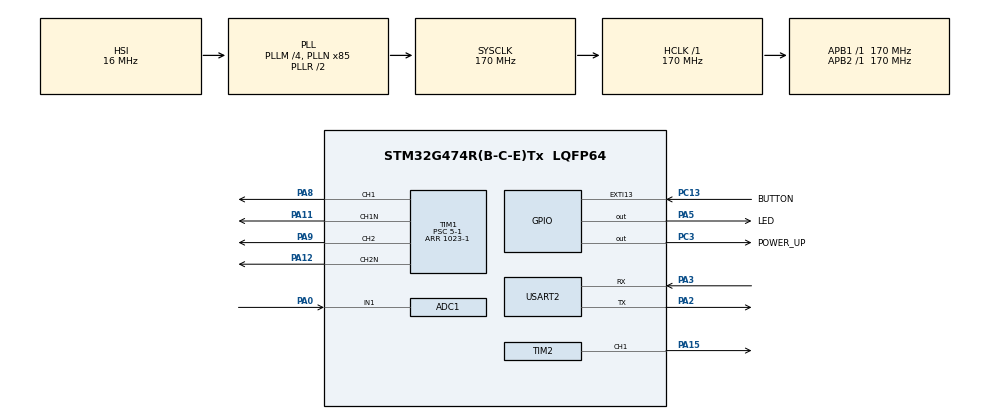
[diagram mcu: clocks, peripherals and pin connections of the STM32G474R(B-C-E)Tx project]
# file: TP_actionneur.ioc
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ADC1.Channel-0\#ChannelRegularConversion=ADC_CHANNEL_1
ADC1.NbrOfConversionFlag=1
ADC1.OffsetNumber-0\#ChannelRegularConversion=ADC_OFFSET_NONE
ADC1.Rank-0\#ChannelRegularConversion=1
ADC1.SamplingTime-0\#ChannelRegularConversion=ADC_SAMPLETIME_2CYCLES_5
ADC1.master=1
Mcu.Family=STM32G4
Mcu.Name=STM32G474R(B-C-E)Tx
Mcu.Package=LQFP64
NVIC.ADC1_2_IRQn=true\:0\:0\:false\:false\:true\:true\:true\:true
NVIC.EXTI15_10_IRQn=true\:0\:0\:false\:false\:true\:true\:true\:true
NVIC.PriorityGroup=NVIC_PRIORITYGROUP_4
NVIC.USART2_IRQn=true\:0\:0\:false\:false\:true\:true\:true\:true
PA0.Mode=IN1-Single-Ended
PA0.Signal=ADC1_IN1
PA11.Mode=PWM Generation1 CH1 CH1N
PA11.Signal=TIM1_CH1N
PA12.Mode=PWM Generation2 CH2 CH2N
PA12.Signal=TIM1_CH2N
PA13.GPIO_Label=T_SWDIO
PA13.Mode=Serial_Wire
PA13.Signal=SYS_JTMS-SWDIO
PA14.GPIO_Label=T_SWCLK
PA14.Mode=Serial_Wire
PA14.Signal=SYS_JTCK-SWCLK
PA15.Signal=S_TIM2_CH1
PA2.Mode=Asynchronous
PA2.Signal=USART2_TX
PA3.Mode=Asynchronous
PA3.Signal=USART2_RX
PA5.GPIO_Label=LED
PA5.Signal=GPIO_Output
PA8.Signal=S_TIM1_CH1
PA9.Signal=S_TIM1_CH2
PC13.GPIO_Label=BUTTON
PC13.Signal=GPXTI13
PC14-OSC32_IN.Mode=LSE-External-Oscillator
PC14-OSC32_IN.Signal=RCC_OSC32_IN
PC15-OSC32_OUT.Mode=LSE-External-Oscillator
PC15-OSC32_OUT.Signal=RCC_OSC32_OUT
PC3.GPIO_Label=POWER_UP
PC3.Signal=GPIO_Output
PF0-OSC_IN.Mode=HSE-External-Oscillator
PF0-OSC_IN.Signal=RCC_OSC_IN
PF1-OSC_OUT.Mode=HSE-External-Oscillator
PF1-OSC_OUT.Signal=RCC_OSC_OUT
ProjectManager.HeapSize=0x200
ProjectManager.StackSize=0x400
ProjectManager.TargetToolchain=STM32CubeIDE
RCC.ADC12Freq_Value=170000000
RCC.ADC345Freq_Value=170000000
RCC.AHBFreq_Value=170000000
RCC.APB1Freq_Value=170000000
RCC.APB1TimFreq_Value=170000000
RCC.APB2Freq_Value=170000000
RCC.APB2TimFreq_Value=170000000
RCC.CortexFreq_Value=170000000
RCC.EXTERNAL_CLOCK_VALUE=12288000
RCC.HCLKFreq_Value=170000000
RCC.HSE_VALUE=24000000
RCC.HSI48_VALUE=48000000
RCC.HSI_VALUE=16000000
RCC.PLLM=RCC_PLLM_DIV4
RCC.PLLN=85
RCC.RTCClockSelection=RCC_RTCCLKSOURCE_LSE
RCC.SYSCLKFreq_VALUE=170000000
RCC.SYSCLKSource=RCC_SYSCLKSOURCE_PLLCLK
RCC.USBFreq_Value=170000000
RCC.VCOOutputFreq_Value=340000000
SH.S_TIM1_CH1.0=TIM1_CH1,PWM Generation1 CH1 CH1N
SH.S_TIM1_CH2.0=TIM1_CH2,PWM Generation2 CH2 CH2N
SH.S_TIM2_CH1.0=TIM2_CH1,PWM Generation1 CH1
TIM1.Channel-PWM\ Generation1\ CH1\ CH1N=TIM_CHANNEL_1
TIM1.Channel-PWM\ Generation2\ CH2\ CH2N=TIM_CHANNEL_2
TIM1.CounterMode=TIM_COUNTERMODE_CENTERALIGNED1
TIM1.DeadTime=200
TIM1.PeriodNoDither=1023-1
TIM1.Prescaler=5-1
TIM1.PulseNoDither_1=613
TIM1.PulseNoDither_2=613
TIM2.AutoReloadPreload=TIM_AUTORELOAD_PRELOAD_ENABLE
TIM2.Channel-PWM\ Generation1\ CH1=TIM_CHANNEL_1
TIM2.PeriodNoDither=65535
USART2.VirtualMode-Asynchronous=VM_ASYNC
VP_SYS_VS_DBSignals.Mode=DisableDeadBatterySignals
VP_TIM1_VS_ClockSourceINT.Mode=Internal
VP_TIM2_VS_ClockSourceINT.Mode=Internal
board=NUCLEO-G474RE

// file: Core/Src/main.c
/* USER CODE BEGIN Header */
/**
 ******************************************************************************
 * @file           : main.c
 * @brief          : Main program body
 ******************************************************************************
 * @attention
 *
 * Copyright (c) 2022 STMicroelectronics.
 * All rights reserved.
 *
 * This software is licensed under terms that can be found in the LICENSE file
 * in the root directory of this software component.
 * If no LICENSE file comes with this software, it is provided AS-IS.
 *
 ******************************************************************************
 */
/* USER CODE END Header */
#include "main.h"

/* USER CODE BEGIN Includes */
#include "stdio.h"
#include "stdlib.h"
/* USER CODE END Includes */

/* USER CODE BEGIN PD */
#define UART_TX_BUFFER_SIZE 64
#define UART_RX_BUFFER_SIZE 1
#define CMD_BUFFER_SIZE 64
#define MAX_ARGS 9

#define ARR 1023
#define ALPHA 50
#define SPEED_MAX 100
// LF = line feed, saut de ligne
#define ASCII_LF 0x0A
// CR = carriage return, retour chariot
#define ASCII_CR 0x0D
// DEL = delete
#define ASCII_DEL 0x7F

/* USER CODE END PD */

ADC_HandleTypeDef hadc1;

TIM_HandleTypeDef htim1;
TIM_HandleTypeDef htim2;

UART_HandleTypeDef huart2;

/* USER CODE BEGIN PV */
uint8_t prompt[]="user@Nucleo-STM32G431>>";
uint8_t started[]=
		"\r\n*-----------------------------*"
		"\r\n| Welcome on Nucleo-STM32G431 |"
		"\r\n*-----------------------------*"
		"\r\n";
uint8_t newline[]="\r\n";
uint8_t cmdNotFound[]="Command not found\r\n";
uint32_t uartRxReceived;
uint8_t uartRxBuffer[UART_RX_BUFFER_SIZE];
uint8_t uartTxBuffer[UART_TX_BUFFER_SIZE];

char cmd[CMD_BUFFER_SIZE]; // contenant la commande en cours
extern int idxCmd; // contenant l'index du prochain caractère à remplir
const uint8_t help[]=
		"\r\n*-----------------------------*"
		"\r\n| Fonctions disponibles |"
		"\r\n*-----------------------------*"
		"\r\n pinout : contenant la liste des pin utilisées"
		"\r\n start : allume l'etage de puissance du moteur"
		"\r\n stop : éteind l'etage de puissance du moteur\r\n"; // contenant le message d'aide, la liste des fonctions
const uint8_t pinout[]=
		"PA5 : LED \r\n"; // contenant la liste des pin utilisées
const uint8_t powerOn[]= "Power ON \r\n"; // contenant le message d'allumage du moteur
const uint8_t powerOff[] = "Power OFF"; // contenant le message d'extinction du moteur

char speed[4];
int speedInt = 0;
int oldSpeed = 50;

//Variables pour le PWM
uint16_t CCR1; // Valeur de ARR du channel 1
uint16_t CCR2; // Valeur de ARR  du channel 2

//Variables pour l'ADC
uint16_t AD_RES = 0;

/* USER CODE END PV */

void SystemClock_Config(void);
static void MX_GPIO_Init(void);
static void MX_TIM1_Init(void);
static void MX_USART2_UART_Init(void);
static void MX_ADC1_Init(void);
static void MX_TIM2_Init(void);

/* USER CODE BEGIN 0 */
void configuration(){
	CCR1= (ARR * ALPHA)/100;
	CCR2= (ARR *(100 - ALPHA))/100;
	TIM1->CCR1 = CCR1;
	TIM1->CCR2 = CCR2;

	HAL_TIM_PWM_Start(&htim1, TIM_CHANNEL_1);
	HAL_TIMEx_PWMN_Start(&htim1, TIM_CHANNEL_1); // turn on complementary channel
	HAL_TIM_PWM_Start(&htim1, TIM_CHANNEL_2);
	HAL_TIMEx_PWMN_Start(&htim1, TIM_CHANNEL_2); // turn on complementary channel
}

void HAL_GPIO_EXTI_Callback(uint16_t GPIO_Pin){
	HAL_GPIO_TogglePin(LED_GPIO_Port, LED_Pin);
	powerUp();
}
/* USER CODE END 0 */

int main(void)
{
	/* USER CODE BEGIN 1 */
	char	 	cmdBuffer[CMD_BUFFER_SIZE];
	int 		idx_cmd = 0;
	char* 		argv[MAX_ARGS];
	int		 	argc = 0;
	char*		token;
	int 		newCmdReady = 0;
	/* USER CODE END 1 */

	/* MCU Configuration--------------------------------------------------------*/

	/* Reset of all peripherals, Initializes the Flash interface and the Systick. */
	HAL_Init();

	/* Configure the system clock */
	SystemClock_Config();

	/* Initialize all configured peripherals */
	MX_GPIO_Init();
	MX_TIM1_Init();
	MX_USART2_UART_Init();
	MX_ADC1_Init();
	MX_TIM2_Init();
	/* USER CODE BEGIN 2 */
	HAL_TIM_PWM_Start(&htim2, TIM_CHANNEL_1);
	HAL_ADCEx_Calibration_Start(&hadc1, ADC_SINGLE_ENDED);
	configuration();

	memset(argv,NULL,MAX_ARGS*sizeof(char*));
	memset(cmdBuffer,NULL,CMD_BUFFER_SIZE*sizeof(char));
	memset(uartRxBuffer,NULL,UART_RX_BUFFER_SIZE*sizeof(char));
	memset(uartTxBuffer,NULL,UART_TX_BUFFER_SIZE*sizeof(char));

	HAL_UART_Receive_IT(&huart2, uartRxBuffer, UART_RX_BUFFER_SIZE);
	HAL_Delay(10);
	HAL_UART_Transmit(&huart2, started, sizeof(started), HAL_MAX_DELAY);
	HAL_UART_Transmit(&huart2, prompt, sizeof(prompt), HAL_MAX_DELAY);
	/* USER CODE END 2 */

	/* Infinite loop */
	/* USER CODE BEGIN WHILE */
	while (1)
	{
		// uartRxReceived is set to 1 when a new character is received on uart 1
		if(uartRxReceived){
			switch(uartRxBuffer[0]){
			// Nouvelle ligne, instruction à traiter
			case ASCII_CR:
				HAL_UART_Transmit(&huart2, newline, sizeof(newline), HAL_MAX_DELAY);
				cmdBuffer[idx_cmd] = '\0';
				argc = 0;
				token = strtok(cmdBuffer, " ");
				while(token!=NULL){
					argv[argc++] = token;
					token = strtok(NULL, " ");
				}

				idx_cmd = 0;
				newCmdReady = 1;
				break;
				// Suppression du dernier caractère
			case ASCII_DEL:
				cmdBuffer[idx_cmd--] = '\0';
				HAL_UART_Transmit(&huart2, uartRxBuffer, UART_RX_BUFFER_SIZE, HAL_MAX_DELAY);
				break;
				// Nouveau caractère
			default:
				cmdBuffer[idx_cmd++] = uartRxBuffer[0];
				HAL_UART_Transmit(&huart2, uartRxBuffer, UART_RX_BUFFER_SIZE, HAL_MAX_DELAY);
			}
			uartRxReceived = 0;
		}

		if(newCmdReady){
			if(strcmp(argv[0],"set")==0){
				if(strcmp(argv[1],"PA5")==0){
					HAL_GPIO_WritePin(LED_GPIO_Port, LED_Pin, atoi(argv[2]));
					sprintf(uartTxBuffer,"Switch on/off led : %d\r\n",atoi(argv[2]));
					HAL_UART_Transmit(&huart2, uartTxBuffer, 32, HAL_MAX_DELAY);
				}
				else{
					HAL_UART_Transmit(&huart2, cmdNotFound, sizeof(cmdNotFound), HAL_MAX_DELAY);
				}
			}
			else if(strcmp(argv[0],"get")==0)
			{
				HAL_ADC_Start_IT(&hadc1);
				TIM2->CCR1 = (AD_RES<<4);
				HAL_Delay(1);

				//HAL_UART_Transmit(&huart2, cmdNotFound, sizeof(cmdNotFound), HAL_MAX_DELAY);
			}
			else if(strcmp(argv[0],"help")==0)
			{
				HAL_UART_Transmit(&huart2, help, sizeof(help), HAL_MAX_DELAY);
			}
			else if(strcmp(argv[0],"pinout")==0)
			{
				HAL_UART_Transmit(&huart2, pinout, sizeof(pinout), HAL_MAX_DELAY);
			}
			else if(strcmp(argv[0],"start")==0)
			{
				HAL_UART_Transmit(&huart2, powerOn, sizeof(powerOn), HAL_MAX_DELAY);
			}
			else if(strcmp(argv[0],"stop")==0)
			{
				HAL_UART_Transmit(&huart2, powerOff, sizeof(powerOff), HAL_MAX_DELAY);
			}
			else if(strlen(argv[0])==10)
			{
				memset(speed,0,sizeof(speed));
				memset(uartTxBuffer,NULL,UART_TX_BUFFER_SIZE*sizeof(char));
				speedInt=0;
				for(int i = 0; i<4;i++){
					speed[i] = cmdBuffer[i+6];
				}
				speedInt = atoi(speed);
				sprintf(uartTxBuffer,"speedInt value = %d\n\r", speedInt);
				HAL_UART_Transmit(&huart2, uartTxBuffer, sizeof(uartTxBuffer), HAL_MAX_DELAY);

				if(speedInt > SPEED_MAX){
					speedInt = SPEED_MAX;
					//					sprintf(uartTxBuffer,"speed value = %d est le maximum\n\r", speedInt);
					//					HAL_UART_Transmit(&huart2, uartTxBuffer, sizeof(uartTxBuffer), HAL_MAX_DELAY);
					//					CCR1= (ARR * speedInt)/100;
					//					CCR2= (ARR *(100 - speedInt))/100;
					//					__HAL_TIM_SET_COMPARE(&htim1,TIM_CHANNEL_1, CCR1);
					//					__HAL_TIM_SET_COMPARE(&htim1,TIM_CHANNEL_2, CCR2);
				}
				//				else{
				//					sprintf(uartTxBuffer,"speed value = %d\n\r", speedInt);
				//					HAL_UART_Transmit(&huart2, uartTxBuffer, sizeof(uartTxBuffer), HAL_MAX_DELAY);
				//					CCR1= (ARR * speedInt)/100;
				//					CCR2= (ARR *(100 - speedInt))/100;
				//					__HAL_TIM_SET_COMPARE(&htim1,TIM_CHANNEL_1, CCR1);
				//					__HAL_TIM_SET_COMPARE(&htim1,TIM_CHANNEL_2, CCR2);
				//				}
				if(oldSpeed<speedInt){
					for(int i=oldSpeed;i<=speedInt;i++){
						sprintf(uartTxBuffer,"speed value = %d\n\r", i);
						HAL_UART_Transmit(&huart2, uartTxBuffer, sizeof(uartTxBuffer), HAL_MAX_DELAY);
						CCR1= (ARR * i)/100;
						CCR2= (ARR *(100 - i))/100;
						__HAL_TIM_SET_COMPARE(&htim1,TIM_CHANNEL_1, CCR1);
						__HAL_TIM_SET_COMPARE(&htim1,TIM_CHANNEL_2, CCR2);
						HAL_Delay(100);
					}
				}
				else{
					for(int i=oldSpeed;i>=speedInt;i--){
						sprintf(uartTxBuffer,"speed value = %d\n\r", i);
						HAL_UART_Transmit(&huart2, uartTxBuffer, sizeof(uartTxBuffer), HAL_MAX_DELAY);
						CCR1= (ARR * i)/100;
						CCR2= (ARR *(100 - i))/100;
						__HAL_TIM_SET_COMPARE(&htim1,TIM_CHANNEL_1, CCR1);
						__HAL_TIM_SET_COMPARE(&htim1,TIM_CHANNEL_2, CCR2);
						HAL_Delay(100);

					}
				}
				oldSpeed = speedInt;
			}
			else{
				HAL_UART_Transmit(&huart2, cmdNotFound, sizeof(cmdNotFound), HAL_MAX_DELAY);
			}
			HAL_UART_Transmit(&huart2, prompt, sizeof(prompt), HAL_MAX_DELAY);
			newCmdReady = 0;
		}
		/* USER CODE END WHILE */

		/* USER CODE BEGIN 3 */
	}
	/* USER CODE END WHILE */

	/* USER CODE BEGIN 3 */

	/* USER CODE END 3 */
}

void SystemClock_Config(void)
{
	RCC_OscInitTypeDef RCC_OscInitStruct = {0};
	RCC_ClkInitTypeDef RCC_ClkInitStruct = {0};

	/** Configure the main internal regulator output voltage
	 */
	HAL_PWREx_ControlVoltageScaling(PWR_REGULATOR_VOLTAGE_SCALE1_BOOST);

	/** Initializes the RCC Oscillators according to the specified parameters
	 * in the RCC_OscInitTypeDef structure.
	 */
	RCC_OscInitStruct.OscillatorType = RCC_OSCILLATORTYPE_HSI;
	RCC_OscInitStruct.HSIState = RCC_HSI_ON;
	RCC_OscInitStruct.HSICalibrationValue = RCC_HSICALIBRATION_DEFAULT;
	RCC_OscInitStruct.PLL.PLLState = RCC_PLL_ON;
	RCC_OscInitStruct.PLL.PLLSource = RCC_PLLSOURCE_HSI;
	RCC_OscInitStruct.PLL.PLLM = RCC_PLLM_DIV4;
	RCC_OscInitStruct.PLL.PLLN = 85;
	RCC_OscInitStruct.PLL.PLLP = RCC_PLLP_DIV2;
	RCC_OscInitStruct.PLL.PLLQ = RCC_PLLQ_DIV2;
	RCC_OscInitStruct.PLL.PLLR = RCC_PLLR_DIV2;
	if (HAL_RCC_OscConfig(&RCC_OscInitStruct) != HAL_OK)
	{
		Error_Handler();
	}

	/** Initializes the CPU, AHB and APB buses clocks
	 */
	RCC_ClkInitStruct.ClockType = RCC_CLOCKTYPE_HCLK|RCC_CLOCKTYPE_SYSCLK
			|RCC_CLOCKTYPE_PCLK1|RCC_CLOCKTYPE_PCLK2;
	RCC_ClkInitStruct.SYSCLKSource = RCC_SYSCLKSOURCE_PLLCLK;
	RCC_ClkInitStruct.AHBCLKDivider = RCC_SYSCLK_DIV1;
	RCC_ClkInitStruct.APB1CLKDivider = RCC_HCLK_DIV1;
	RCC_ClkInitStruct.APB2CLKDivider = RCC_HCLK_DIV1;

	if (HAL_RCC_ClockConfig(&RCC_ClkInitStruct, FLASH_LATENCY_4) != HAL_OK)
	{
		Error_Handler();
	}
}

static void MX_ADC1_Init(void)
{

	ADC_MultiModeTypeDef multimode = {0};
	ADC_ChannelConfTypeDef sConfig = {0};

	/** Common config
	 */
	hadc1.Instance = ADC1;
	hadc1.Init.ClockPrescaler = ADC_CLOCK_SYNC_PCLK_DIV4;
	hadc1.Init.Resolution = ADC_RESOLUTION_12B;
	hadc1.Init.DataAlign = ADC_DATAALIGN_RIGHT;
	hadc1.Init.GainCompensation = 0;
	hadc1.Init.ScanConvMode = ADC_SCAN_DISABLE;
	hadc1.Init.EOCSelection = ADC_EOC_SINGLE_CONV;
	hadc1.Init.LowPowerAutoWait = DISABLE;
	hadc1.Init.ContinuousConvMode = DISABLE;
	hadc1.Init.NbrOfConversion = 1;
	hadc1.Init.DiscontinuousConvMode = DISABLE;
	hadc1.Init.ExternalTrigConv = ADC_SOFTWARE_START;
	hadc1.Init.ExternalTrigConvEdge = ADC_EXTERNALTRIGCONVEDGE_NONE;
	hadc1.Init.DMAContinuousRequests = DISABLE;
	hadc1.Init.Overrun = ADC_OVR_DATA_PRESERVED;
	hadc1.Init.OversamplingMode = DISABLE;
	if (HAL_ADC_Init(&hadc1) != HAL_OK)
	{
		Error_Handler();
	}

	/** Configure the ADC multi-mode
	 */
	multimode.Mode = ADC_MODE_INDEPENDENT;
	if (HAL_ADCEx_MultiModeConfigChannel(&hadc1, &multimode) != HAL_OK)
	{
		Error_Handler();
	}

	/** Configure Regular Channel
	 */
	sConfig.Channel = ADC_CHANNEL_1;
	sConfig.Rank = ADC_REGULAR_RANK_1;
	sConfig.SamplingTime = ADC_SAMPLETIME_2CYCLES_5;
	sConfig.SingleDiff = ADC_SINGLE_ENDED;
	sConfig.OffsetNumber = ADC_OFFSET_NONE;
	sConfig.Offset = 0;
	if (HAL_ADC_ConfigChannel(&hadc1, &sConfig) != HAL_OK)
	{
		Error_Handler();
	}

}

static void MX_TIM1_Init(void)
{

	TIM_ClockConfigTypeDef sClockSourceConfig = {0};
	TIM_MasterConfigTypeDef sMasterConfig = {0};
	TIM_OC_InitTypeDef sConfigOC = {0};
	TIM_BreakDeadTimeConfigTypeDef sBreakDeadTimeConfig = {0};

	htim1.Instance = TIM1;
	htim1.Init.Prescaler = 5-1;
	htim1.Init.CounterMode = TIM_COUNTERMODE_CENTERALIGNED1;
	htim1.Init.Period = 1022;
	htim1.Init.ClockDivision = TIM_CLOCKDIVISION_DIV1;
	htim1.Init.RepetitionCounter = 0;
	htim1.Init.AutoReloadPreload = TIM_AUTORELOAD_PRELOAD_DISABLE;
	if (HAL_TIM_Base_Init(&htim1) != HAL_OK)
	{
		Error_Handler();
	}
	sClockSourceConfig.ClockSource = TIM_CLOCKSOURCE_INTERNAL;
	if (HAL_TIM_ConfigClockSource(&htim1, &sClockSourceConfig) != HAL_OK)
	{
		Error_Handler();
	}
	if (HAL_TIM_PWM_Init(&htim1) != HAL_OK)
	{
		Error_Handler();
	}
	sMasterConfig.MasterOutputTrigger = TIM_TRGO_RESET;
	sMasterConfig.MasterOutputTrigger2 = TIM_TRGO2_RESET;
	sMasterConfig.MasterSlaveMode = TIM_MASTERSLAVEMODE_DISABLE;
	if (HAL_TIMEx_MasterConfigSynchronization(&htim1, &sMasterConfig) != HAL_OK)
	{
		Error_Handler();
	}
	sConfigOC.OCMode = TIM_OCMODE_PWM1;
	sConfigOC.Pulse = 613;
	sConfigOC.OCPolarity = TIM_OCPOLARITY_HIGH;
	sConfigOC.OCNPolarity = TIM_OCNPOLARITY_HIGH;
	sConfigOC.OCFastMode = TIM_OCFAST_DISABLE;
	sConfigOC.OCIdleState = TIM_OCIDLESTATE_RESET;
	sConfigOC.OCNIdleState = TIM_OCNIDLESTATE_RESET;
	if (HAL_TIM_PWM_ConfigChannel(&htim1, &sConfigOC, TIM_CHANNEL_1) != HAL_OK)
	{
		Error_Handler();
	}
	if (HAL_TIM_PWM_ConfigChannel(&htim1, &sConfigOC, TIM_CHANNEL_2) != HAL_OK)
	{
		Error_Handler();
	}
	sBreakDeadTimeConfig.OffStateRunMode = TIM_OSSR_DISABLE;
	sBreakDeadTimeConfig.OffStateIDLEMode = TIM_OSSI_DISABLE;
	sBreakDeadTimeConfig.LockLevel = TIM_LOCKLEVEL_OFF;
	sBreakDeadTimeConfig.DeadTime = 200;
	sBreakDeadTimeConfig.BreakState = TIM_BREAK_DISABLE;
	sBreakDeadTimeConfig.BreakPolarity = TIM_BREAKPOLARITY_HIGH;
	sBreakDeadTimeConfig.BreakFilter = 0;
	sBreakDeadTimeConfig.BreakAFMode = TIM_BREAK_AFMODE_INPUT;
	sBreakDeadTimeConfig.Break2State = TIM_BREAK2_DISABLE;
	sBreakDeadTimeConfig.Break2Polarity = TIM_BREAK2POLARITY_HIGH;
	sBreakDeadTimeConfig.Break2Filter = 0;
	sBreakDeadTimeConfig.Break2AFMode = TIM_BREAK_AFMODE_INPUT;
	sBreakDeadTimeConfig.AutomaticOutput = TIM_AUTOMATICOUTPUT_DISABLE;
	if (HAL_TIMEx_ConfigBreakDeadTime(&htim1, &sBreakDeadTimeConfig) != HAL_OK)
	{
		Error_Handler();
	}
	HAL_TIM_MspPostInit(&htim1);

}

static void MX_TIM2_Init(void)
{

	TIM_ClockConfigTypeDef sClockSourceConfig = {0};
	TIM_MasterConfigTypeDef sMasterConfig = {0};
	TIM_OC_InitTypeDef sConfigOC = {0};

	htim2.Instance = TIM2;
	htim2.Init.Prescaler = 0;
	htim2.Init.CounterMode = TIM_COUNTERMODE_UP;
	htim2.Init.Period = 65535;
	htim2.Init.ClockDivision = TIM_CLOCKDIVISION_DIV1;
	htim2.Init.AutoReloadPreload = TIM_AUTORELOAD_PRELOAD_ENABLE;
	if (HAL_TIM_Base_Init(&htim2) != HAL_OK)
	{
		Error_Handler();
	}
	sClockSourceConfig.ClockSource = TIM_CLOCKSOURCE_INTERNAL;
	if (HAL_TIM_ConfigClockSource(&htim2, &sClockSourceConfig) != HAL_OK)
	{
		Error_Handler();
	}
	if (HAL_TIM_PWM_Init(&htim2) != HAL_OK)
	{
		Error_Handler();
	}
	sMasterConfig.MasterOutputTrigger = TIM_TRGO_RESET;
	sMasterConfig.MasterSlaveMode = TIM_MASTERSLAVEMODE_DISABLE;
	if (HAL_TIMEx_MasterConfigSynchronization(&htim2, &sMasterConfig) != HAL_OK)
	{
		Error_Handler();
	}
	sConfigOC.OCMode = TIM_OCMODE_PWM1;
	sConfigOC.Pulse = 0;
	sConfigOC.OCPolarity = TIM_OCPOLARITY_HIGH;
	sConfigOC.OCFastMode = TIM_OCFAST_DISABLE;
	if (HAL_TIM_PWM_ConfigChannel(&htim2, &sConfigOC, TIM_CHANNEL_1) != HAL_OK)
	{
		Error_Handler();
	}
	HAL_TIM_MspPostInit(&htim2);

}

static void MX_USART2_UART_Init(void)
{

	huart2.Instance = USART2;
	huart2.Init.BaudRate = 115200;
	huart2.Init.WordLength = UART_WORDLENGTH_8B;
	huart2.Init.StopBits = UART_STOPBITS_1;
	huart2.Init.Parity = UART_PARITY_NONE;
	huart2.Init.Mode = UART_MODE_TX_RX;
	huart2.Init.HwFlowCtl = UART_HWCONTROL_NONE;
	huart2.Init.OverSampling = UART_OVERSAMPLING_16;
	huart2.Init.OneBitSampling = UART_ONE_BIT_SAMPLE_DISABLE;
	huart2.Init.ClockPrescaler = UART_PRESCALER_DIV1;
	huart2.AdvancedInit.AdvFeatureInit = UART_ADVFEATURE_NO_INIT;
	if (HAL_UART_Init(&huart2) != HAL_OK)
	{
		Error_Handler();
	}
	if (HAL_UARTEx_SetTxFifoThreshold(&huart2, UART_TXFIFO_THRESHOLD_1_8) != HAL_OK)
	{
		Error_Handler();
	}
	if (HAL_UARTEx_SetRxFifoThreshold(&huart2, UART_RXFIFO_THRESHOLD_1_8) != HAL_OK)
	{
		Error_Handler();
	}
	if (HAL_UARTEx_DisableFifoMode(&huart2) != HAL_OK)
	{
		Error_Handler();
	}

}

static void MX_GPIO_Init(void)
{
	GPIO_InitTypeDef GPIO_InitStruct = {0};

	/* GPIO Ports Clock Enable */
	__HAL_RCC_GPIOC_CLK_ENABLE();
	__HAL_RCC_GPIOF_CLK_ENABLE();
	__HAL_RCC_GPIOA_CLK_ENABLE();

	/*Configure GPIO pin Output Level */
	HAL_GPIO_WritePin(POWER_UP_GPIO_Port, POWER_UP_Pin, GPIO_PIN_RESET);

	/*Configure GPIO pin Output Level */
	HAL_GPIO_WritePin(LED_GPIO_Port, LED_Pin, GPIO_PIN_RESET);

	/*Configure GPIO pin : BUTTON_Pin */
	GPIO_InitStruct.Pin = BUTTON_Pin;
	GPIO_InitStruct.Mode = GPIO_MODE_IT_RISING;
	GPIO_InitStruct.Pull = GPIO_NOPULL;
	HAL_GPIO_Init(BUTTON_GPIO_Port, &GPIO_InitStruct);

	/*Configure GPIO pin : POWER_UP_Pin */
	GPIO_InitStruct.Pin = POWER_UP_Pin;
	GPIO_InitStruct.Mode = GPIO_MODE_OUTPUT_PP;
	GPIO_InitStruct.Pull = GPIO_NOPULL;
	GPIO_InitStruct.Speed = GPIO_SPEED_FREQ_LOW;
	HAL_GPIO_Init(POWER_UP_GPIO_Port, &GPIO_InitStruct);

	/*Configure GPIO pin : LED_Pin */
	GPIO_InitStruct.Pin = LED_Pin;
	GPIO_InitStruct.Mode = GPIO_MODE_OUTPUT_PP;
	GPIO_InitStruct.Pull = GPIO_NOPULL;
	GPIO_InitStruct.Speed = GPIO_SPEED_FREQ_LOW;
	HAL_GPIO_Init(LED_GPIO_Port, &GPIO_InitStruct);

	/* EXTI interrupt init*/
	HAL_NVIC_SetPriority(EXTI15_10_IRQn, 0, 0);
	HAL_NVIC_EnableIRQ(EXTI15_10_IRQn);

}

/* USER CODE BEGIN 4 */
void HAL_UART_RxCpltCallback (UART_HandleTypeDef * huart){
	uartRxReceived = 1;
	HAL_UART_Receive_IT(&huart2, uartRxBuffer, UART_RX_BUFFER_SIZE);
}

void powerUp(void){
	HAL_GPIO_WritePin(POWER_UP_GPIO_Port, POWER_UP_Pin, GPIO_PIN_SET);
	for(volatile count = 0;count<100;count++); // delay 6 µs
	HAL_GPIO_WritePin(POWER_UP_GPIO_Port, POWER_UP_Pin, GPIO_PIN_RESET);
}

void HAL_ADC_ConvCpltCallback(ADC_HandleTypeDef *hadc){
	memset(uartTxBuffer,NULL,UART_TX_BUFFER_SIZE*sizeof(char));
	AD_RES = HAL_ADC_GetValue(&hadc1);
	sprintf(uartTxBuffer,"Current value = %d\n\r", AD_RES);
	HAL_UART_Transmit(&huart2, uartTxBuffer, sizeof(uartTxBuffer), HAL_MAX_DELAY);
}

/* USER CODE END 4 */

void Error_Handler(void)
{
	__disable_irq();
	while (1)
	{
	}
}
